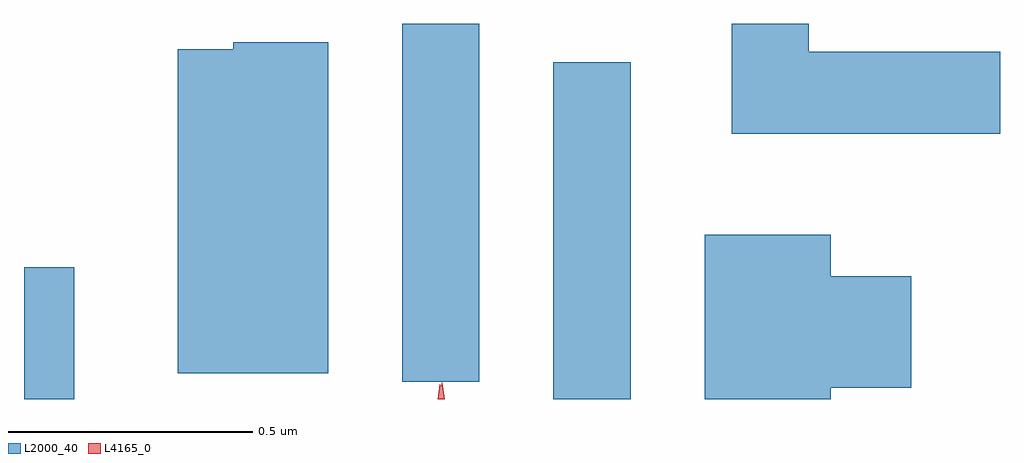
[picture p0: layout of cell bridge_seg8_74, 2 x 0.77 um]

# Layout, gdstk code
import gdstk
lib = gdstk.Library(unit=1e-6, precision=1e-09)
def R(c, l, rs):  # rectangles x0, y0, x1, y1
    for r in rs: c.add(gdstk.rectangle(r[:2], r[2:], *l))
def P(c, l, *ps):  # polygons
    for p in ps: c.add(gdstk.Polygon(p, *l))
L2000_40 = (2000, 40)
L4165_0 = (4165, 0)

bridge_seg8_74 = lib.new_cell('bridge_seg8_74')
R(bridge_seg8_74, L2000_40, [(1536.251,1806.342,1536.354,1806.613), (1537.336,1806.342,1537.494,1807.033), (1537.026,1806.378,1537.184,1807.112)])
P(bridge_seg8_74, L2000_40, [(1538.251,1807.054),(1537.859,1807.054),(1537.859,1807.112),(1537.701,1807.112),(1537.701,1806.886),(1538.251,1806.886)],
  [(1536.874,1807.074),(1536.68,1807.074),(1536.68,1807.059),(1536.566,1807.059),(1536.566,1806.396),(1536.874,1806.396)],
  [(1537.904,1806.366),(1538.069,1806.366),(1538.069,1806.594),(1537.904,1806.594),(1537.904,1806.679),(1537.646,1806.679),(1537.646,1806.342),(1537.904,1806.342)])
P(bridge_seg8_74, L4165_0, [(1537.103,1806.342),(1537.107,1806.376),(1537.108,1806.376),(1537.113,1806.342)],
  [(1537.099,1806.342),(1537.103,1806.373),(1537.104,1806.373),(1537.109,1806.342)])

lib.write_gds('bridge_seg8_74.gds')
